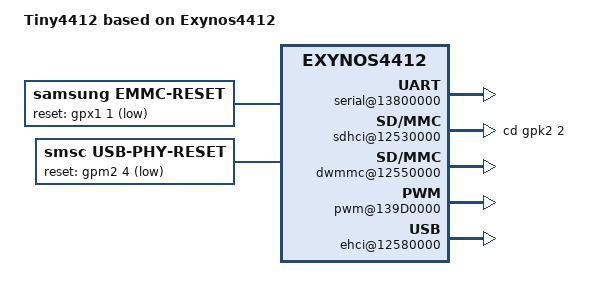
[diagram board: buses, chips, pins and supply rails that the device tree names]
/*
 * Odroid-U3/X2 board device tree source
 *
 * Copyright (c) 2014 Samsung Electronics Co., Ltd.
 *		http://www.samsung.com
 *
 * SPDX-License-Identifier:	GPL-2.0+
 */

/dts-v1/;
#include "exynos4412.dtsi"
#include <dt-bindings/gpio/gpio.h>


/ {
	model = "Tiny4412 based on Exynos4412";
	compatible = "samsung,tiny4412", "samsung,exynos4412";

	chosen {
		stdout-path = "serial0";
	};

	aliases {
		i2c0 = "/i2c@13860000";
		i2c1 = "/i2c@13870000";
		i2c2 = "/i2c@13880000";
		i2c3 = "/i2c@13890000";
		i2c4 = "/i2c@138a0000";
		i2c5 = "/i2c@138b0000";
		i2c6 = "/i2c@138c0000";
		i2c7 = "/i2c@138d0000";

		serial0 = "/serial@13800000";
		console = "/serial@13800000";
		
		mmc2 = "/sdhci@12530000";
		mmc4 = "/dwmmc@12550000";

	};

	serial@13800000 {
		compatible = "samsung,exynos4210-uart";
		status = "okay";
	};

	serial@13810000 {
		compatible = "samsung,exynos4210-uart";
		status = "disabled";
	};
	
	serial@13820000 {
		compatible = "samsung,exynos4210-uart";
		status = "disabled";
	};
	
	serial@13830000 {
		compatible = "samsung,exynos4210-uart";
		status = "disabled";
	};

	serial@13840000 {
		compatible = "samsung,exynos4210-uart";
		status = "disabled";
	};


	sdhci@12510000 {
		compatible = "samsung,exynos4412-sdhci";
		status = "disabled";
	};
	
	sdhci@12520000 {
		compatible = "samsung,exynos4412-sdhci";
		status = "disabled";
	};

	sdhci@12530000 {
		compatible = "samsung,exynos4412-sdhci";
		samsung,bus-width = <4>;
		samsung,timing = <1 2 3>;
		cd-gpios = <&gpk2 2 0>;
	};

	sdhci@12540000 {
		compatible = "samsung,exynos4412-sdhci";
		status = "disabled";
	};


	dwmmc@12550000 {
		compatible = "samsung,exynos4412-dw-mshc";
		samsung,bus-width = <8>;
		samsung,timing = <2 1 0>;
		samsung,removable = <0>;
		fifoth_val = <0x203f0040>;
		bus_hz = <400000000>;
		div = <0x3>;
		index = <4>;
	};

	emmc-reset {
		compatible = "samsung,emmc-reset";
		reset-gpio = <&gpx1 1 GPIO_ACTIVE_LOW>;
	};

	pwm@139D0000 {
		compatible = "samsung,exynos4210-pwm";
		reg = <0x139D0000 0x100>;
		samsung,pwm-outputs = <0>,<1>;
		#pwm-cells = <3>;
		enable-gpios = <&gpd0 0 GPIO_ACTIVE_HIGH>;
	}; 
	
	ehci@12580000 {
		compatible = "samsung,exynos-ehci";
		reg = <0x12580000 0x100>;		
		
		#address-cells = <1>;
		#size-cells = <1>;
		phy {
			compatible = "samsung,exynos-usb-phy";
			reg = <0x125B0000 0x100>;
		};
	};
	
	usb-phy-reset {
		compatible = "smsc,usb-phy-reset";
		reset-gpio = <&gpm2 4 GPIO_ACTIVE_LOW>;
	};
};

